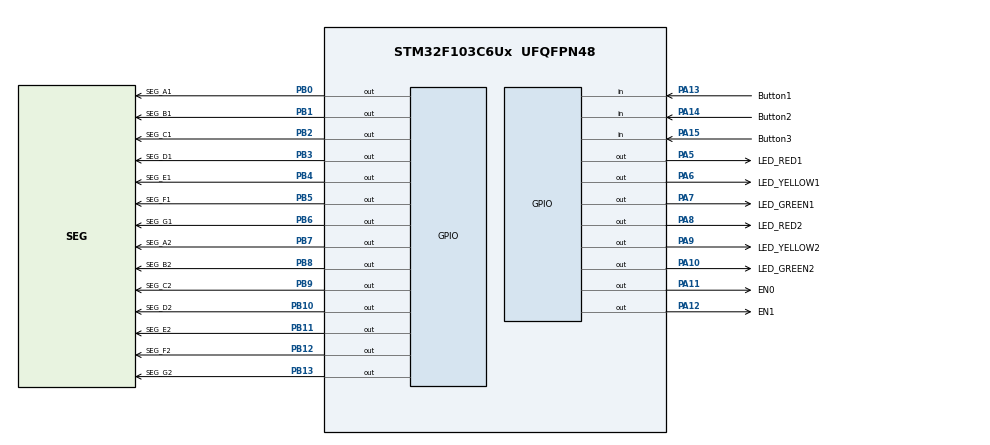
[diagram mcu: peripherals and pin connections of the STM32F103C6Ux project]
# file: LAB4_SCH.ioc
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Mcu.Family=STM32F1
Mcu.Name=STM32F103C6Ux
Mcu.Package=UFQFPN48
NVIC.PriorityGroup=NVIC_PRIORITYGROUP_4
NVIC.TIM2_IRQn=true\:0\:0\:false\:false\:true\:true\:true
PA10.GPIO_Label=LED_GREEN2
PA10.Signal=GPIO_Output
PA11.GPIO_Label=EN0
PA11.Signal=GPIO_Output
PA12.GPIO_Label=EN1
PA12.Signal=GPIO_Output
PA13.GPIO_Label=Button1
PA13.GPIO_PuPd=GPIO_PULLUP
PA13.Signal=GPIO_Input
PA14.GPIO_Label=Button2
PA14.GPIO_PuPd=GPIO_PULLUP
PA14.Signal=GPIO_Input
PA15.GPIO_Label=Button3
PA15.GPIO_PuPd=GPIO_PULLUP
PA15.Signal=GPIO_Input
PA5.GPIO_Label=LED_RED1
PA5.Signal=GPIO_Output
PA6.GPIO_Label=LED_YELLOW1
PA6.Signal=GPIO_Output
PA7.GPIO_Label=LED_GREEN1
PA7.Signal=GPIO_Output
PA8.GPIO_Label=LED_RED2
PA8.Signal=GPIO_Output
PA9.GPIO_Label=LED_YELLOW2
PA9.Signal=GPIO_Output
PB0.GPIO_Label=SEG_A1
PB0.Signal=GPIO_Output
PB1.GPIO_Label=SEG_B1
PB1.Signal=GPIO_Output
PB10.GPIO_Label=SEG_D2
PB10.Signal=GPIO_Output
PB11.GPIO_Label=SEG_E2
PB11.Signal=GPIO_Output
PB12.GPIO_Label=SEG_F2
PB12.Signal=GPIO_Output
PB13.GPIO_Label=SEG_G2
PB13.Signal=GPIO_Output
PB2.GPIO_Label=SEG_C1
PB2.Signal=GPIO_Output
PB3.GPIO_Label=SEG_D1
PB3.Signal=GPIO_Output
PB4.GPIO_Label=SEG_E1
PB4.Signal=GPIO_Output
PB5.GPIO_Label=SEG_F1
PB5.Signal=GPIO_Output
PB6.GPIO_Label=SEG_G1
PB6.Signal=GPIO_Output
PB7.GPIO_Label=SEG_A2
PB7.Signal=GPIO_Output
PB8.GPIO_Label=SEG_B2
PB8.Signal=GPIO_Output
PB9.GPIO_Label=SEG_C2
PB9.Signal=GPIO_Output
ProjectManager.HeapSize=0x200
ProjectManager.StackSize=0x400
ProjectManager.TargetToolchain=STM32CubeIDE
RCC.APB1Freq_Value=8000000
RCC.APB2Freq_Value=8000000
TIM2.Period=9
TIM2.Prescaler=7999
VP_SYS_VS_ND.Mode=No_Debug
VP_TIM2_VS_ClockSourceINT.Mode=Internal
board=custom

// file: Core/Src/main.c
/* USER CODE BEGIN Header */
/**
  ******************************************************************************
  * @file           : main.c
  * @brief          : Main program body
  ******************************************************************************
  * @attention
  *
  * <h2><center>&copy; Copyright (c) 2024 STMicroelectronics.
  * All rights reserved.</center></h2>
  *
  * This software component is licensed by ST under BSD 3-Clause license,
  * the "License"; You may not use this file except in compliance with the
  * License. You may obtain a copy of the License at:
  *                        opensource.org/licenses/BSD-3-Clause
  *
  ******************************************************************************
  */
/* USER CODE END Header */
#include "main.h"

/* USER CODE BEGIN Includes */
#include "software_timer.h"
#include "button.h"
#include "fsm_automatic.h"
#include "fsm_manual.h"
#include "fsm_setting.h"
#include "scheduler.h"
/* USER CODE END Includes */

TIM_HandleTypeDef htim2;

void SystemClock_Config(void);
static void MX_GPIO_Init(void);
static void MX_TIM2_Init(void);

//void led1test() {
//	HAL_GPIO_TogglePin(LED_RED1_GPIO_Port, LED_RED1_Pin);
//}

int main(void)
{

  /* MCU Configuration--------------------------------------------------------*/

  /* Reset of all peripherals, Initializes the Flash interface and the Systick. */
  HAL_Init();

  /* Configure the system clock */
  SystemClock_Config();

  /* Initialize all configured peripherals */
  MX_GPIO_Init();
  MX_TIM2_Init();
  /* USER CODE BEGIN 2 */
	HAL_TIM_Base_Start_IT(&htim2);
  /* USER CODE END 2 */

  /* Infinite loop */
  /* USER CODE BEGIN WHILE */
	status = INIT;
	SCH_Add_Task(fsm_automatic_run, 0, 10);
	SCH_Add_Task(fsm_manual_run, 0, 10);
	SCH_Add_Task(fsm_setting_run, 0, 10);
  while (1)
  {
		SCH_Dispatch_Tasks();
    /* USER CODE END WHILE */

  }
}

void SystemClock_Config(void)
{
  RCC_OscInitTypeDef RCC_OscInitStruct = {0};
  RCC_ClkInitTypeDef RCC_ClkInitStruct = {0};

  /** Initializes the RCC Oscillators according to the specified parameters
  * in the RCC_OscInitTypeDef structure.
  */
  RCC_OscInitStruct.OscillatorType = RCC_OSCILLATORTYPE_HSI;
  RCC_OscInitStruct.HSIState = RCC_HSI_ON;
  RCC_OscInitStruct.HSICalibrationValue = RCC_HSICALIBRATION_DEFAULT;
  RCC_OscInitStruct.PLL.PLLState = RCC_PLL_NONE;
  if (HAL_RCC_OscConfig(&RCC_OscInitStruct) != HAL_OK)
  {
    Error_Handler();
  }
  /** Initializes the CPU, AHB and APB buses clocks
  */
  RCC_ClkInitStruct.ClockType = RCC_CLOCKTYPE_HCLK|RCC_CLOCKTYPE_SYSCLK
                              |RCC_CLOCKTYPE_PCLK1|RCC_CLOCKTYPE_PCLK2;
  RCC_ClkInitStruct.SYSCLKSource = RCC_SYSCLKSOURCE_HSI;
  RCC_ClkInitStruct.AHBCLKDivider = RCC_SYSCLK_DIV1;
  RCC_ClkInitStruct.APB1CLKDivider = RCC_HCLK_DIV1;
  RCC_ClkInitStruct.APB2CLKDivider = RCC_HCLK_DIV1;

  if (HAL_RCC_ClockConfig(&RCC_ClkInitStruct, FLASH_LATENCY_0) != HAL_OK)
  {
    Error_Handler();
  }
}

static void MX_TIM2_Init(void)
{

  TIM_ClockConfigTypeDef sClockSourceConfig = {0};
  TIM_MasterConfigTypeDef sMasterConfig = {0};

  htim2.Instance = TIM2;
  htim2.Init.Prescaler = 7999;
  htim2.Init.CounterMode = TIM_COUNTERMODE_UP;
  htim2.Init.Period = 9;
  htim2.Init.ClockDivision = TIM_CLOCKDIVISION_DIV1;
  htim2.Init.AutoReloadPreload = TIM_AUTORELOAD_PRELOAD_DISABLE;
  if (HAL_TIM_Base_Init(&htim2) != HAL_OK)
  {
    Error_Handler();
  }
  sClockSourceConfig.ClockSource = TIM_CLOCKSOURCE_INTERNAL;
  if (HAL_TIM_ConfigClockSource(&htim2, &sClockSourceConfig) != HAL_OK)
  {
    Error_Handler();
  }
  sMasterConfig.MasterOutputTrigger = TIM_TRGO_RESET;
  sMasterConfig.MasterSlaveMode = TIM_MASTERSLAVEMODE_DISABLE;
  if (HAL_TIMEx_MasterConfigSynchronization(&htim2, &sMasterConfig) != HAL_OK)
  {
    Error_Handler();
  }

}

static void MX_GPIO_Init(void)
{
  GPIO_InitTypeDef GPIO_InitStruct = {0};

  /* GPIO Ports Clock Enable */
  __HAL_RCC_GPIOA_CLK_ENABLE();
  __HAL_RCC_GPIOB_CLK_ENABLE();

  /*Configure GPIO pin Output Level */
  HAL_GPIO_WritePin(GPIOA, LED_RED1_Pin|LED_YELLOW1_Pin|LED_GREEN1_Pin|LED_RED2_Pin
                          |LED_YELLOW2_Pin|LED_GREEN2_Pin|EN0_Pin|EN1_Pin, GPIO_PIN_RESET);

  /*Configure GPIO pin Output Level */
  HAL_GPIO_WritePin(GPIOB, SEG_A1_Pin|SEG_B1_Pin|SEG_C1_Pin|SEG_D2_Pin
                          |SEG_E2_Pin|SEG_F2_Pin|SEG_G2_Pin|SEG_D1_Pin
                          |SEG_E1_Pin|SEG_F1_Pin|SEG_G1_Pin|SEG_A2_Pin
                          |SEG_B2_Pin|SEG_C2_Pin, GPIO_PIN_RESET);

  /*Configure GPIO pins : LED_RED1_Pin LED_YELLOW1_Pin LED_GREEN1_Pin LED_RED2_Pin
                           LED_YELLOW2_Pin LED_GREEN2_Pin EN0_Pin EN1_Pin */
  GPIO_InitStruct.Pin = LED_RED1_Pin|LED_YELLOW1_Pin|LED_GREEN1_Pin|LED_RED2_Pin
                          |LED_YELLOW2_Pin|LED_GREEN2_Pin|EN0_Pin|EN1_Pin;
  GPIO_InitStruct.Mode = GPIO_MODE_OUTPUT_PP;
  GPIO_InitStruct.Pull = GPIO_NOPULL;
  GPIO_InitStruct.Speed = GPIO_SPEED_FREQ_LOW;
  HAL_GPIO_Init(GPIOA, &GPIO_InitStruct);

  /*Configure GPIO pins : SEG_A1_Pin SEG_B1_Pin SEG_C1_Pin SEG_D2_Pin
                           SEG_E2_Pin SEG_F2_Pin SEG_G2_Pin SEG_D1_Pin
                           SEG_E1_Pin SEG_F1_Pin SEG_G1_Pin SEG_A2_Pin
                           SEG_B2_Pin SEG_C2_Pin */
  GPIO_InitStruct.Pin = SEG_A1_Pin|SEG_B1_Pin|SEG_C1_Pin|SEG_D2_Pin
                          |SEG_E2_Pin|SEG_F2_Pin|SEG_G2_Pin|SEG_D1_Pin
                          |SEG_E1_Pin|SEG_F1_Pin|SEG_G1_Pin|SEG_A2_Pin
                          |SEG_B2_Pin|SEG_C2_Pin;
  GPIO_InitStruct.Mode = GPIO_MODE_OUTPUT_PP;
  GPIO_InitStruct.Pull = GPIO_NOPULL;
  GPIO_InitStruct.Speed = GPIO_SPEED_FREQ_LOW;
  HAL_GPIO_Init(GPIOB, &GPIO_InitStruct);

  /*Configure GPIO pins : Button1_Pin Button2_Pin Button3_Pin */
  GPIO_InitStruct.Pin = Button1_Pin|Button2_Pin|Button3_Pin;
  GPIO_InitStruct.Mode = GPIO_MODE_INPUT;
  GPIO_InitStruct.Pull = GPIO_PULLUP;
  HAL_GPIO_Init(GPIOA, &GPIO_InitStruct);

}

/* USER CODE BEGIN 4 */

void HAL_TIM_PeriodElapsedCallback(TIM_HandleTypeDef *htim) {
	timerRun();
	getKey1Input();
	getKey2Input();
	getKey3Input();
	SCH_Update();
}

/* USER CODE END 4 */

void Error_Handler(void)
{
  __disable_irq();
  while (1)
  {
  }
}

/************************ (C) COPYRIGHT STMicroelectronics *****END OF FILE****/
